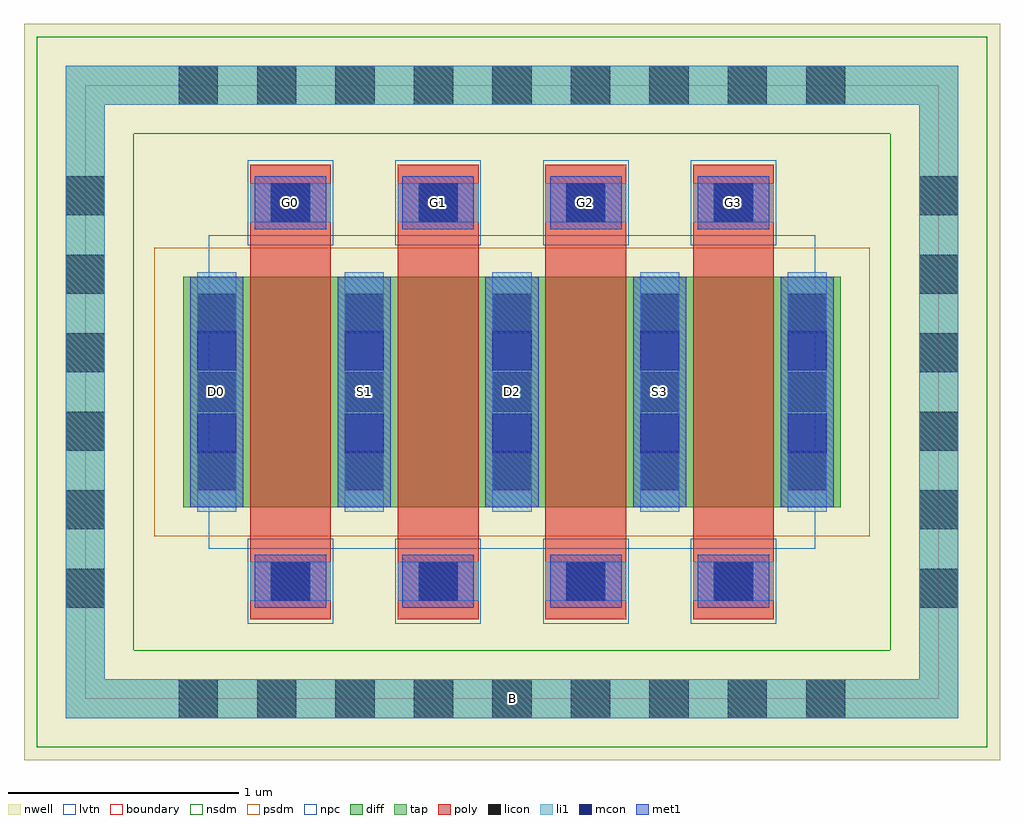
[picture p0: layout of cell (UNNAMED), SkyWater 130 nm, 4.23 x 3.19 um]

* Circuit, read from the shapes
.subckt (UNNAMED) B D0 D2 G0 G1 G2 G3 S1 S3
XM1 S1 G0 D0 B sky130_fd_pr__pfet_01v8_lvt w=1 l=0.35
XM2 D2 G1 S1 B sky130_fd_pr__pfet_01v8_lvt w=1 l=0.35
XM3 S3 G2 D2 B sky130_fd_pr__pfet_01v8_lvt w=1 l=0.35
XM4 n1 G3 S3 B sky130_fd_pr__pfet_01v8_lvt w=1 l=0.35
.ends

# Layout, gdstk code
import gdstk
lib = gdstk.Library(unit=1e-6, precision=1e-09)
def R(c, l, rs):  # rectangles x0, y0, x1, y1
    for r in rs: c.add(gdstk.rectangle(r[:2], r[2:], *l))
def A(c, l, x, y, w, h, nx, ny, dx, dy):  # array of equal rectangles
    R(c, l, [(x+i*dx, y+j*dy, x+i*dx+w, y+j*dy+h) for i in range(nx) for j in range(ny)])
nwell = (64, 20)
diff = (65, 20)
tap = (65, 44)
poly = (66, 20)
licon = (66, 44)
li1 = (67, 20)
mcon = (67, 44)
met1 = (68, 20)
nsdm = (93, 44)
psdm = (94, 20)
npc = (95, 20)
lvtn = (125, 44)
boundary = (235, 4)

c__unnamed_ = lib.new_cell('(UNNAMED)')
R(c__unnamed_, nwell, [(-2.115,-1.595,2.115,1.595)])
R(c__unnamed_, diff, [(-1.425,-0.5,1.425,0.5)])
R(c__unnamed_, tap, [(-1.935,-1.415,1.935,-1.245), (-1.935,-1.245,-1.765,1.245), (1.765,-1.245,1.935,1.245), (-1.935,1.245,1.935,1.415)])
A(c__unnamed_, poly, -1.135, -0.985, 0.35, 1.97, 4, 1, 0.64, 0)
A(c__unnamed_, licon, -1.445, -1.415, 0.17, 0.17, 9, 2, 0.34, 2.66)
A(c__unnamed_, licon, -1.935, -0.935, 0.17, 0.17, 1, 6, 0, 0.34)
A(c__unnamed_, licon, 1.765, -0.935, 0.17, 0.17, 1, 6, 0, 0.34)
A(c__unnamed_, licon, -1.045, -0.905, 0.17, 0.17, 4, 2, 0.64, 1.64)
A(c__unnamed_, licon, -1.365, -0.425, 0.17, 0.17, 5, 3, 0.64, 0.34)
A(c__unnamed_, li1, -1.135, -0.905, 0.35, 0.17, 4, 2, 0.64, 1.64)
A(c__unnamed_, li1, -1.365, -0.52, 0.17, 1.04, 5, 1, 0.64, 0)
R(c__unnamed_, li1, [(-1.935,-1.415,1.935,-1.245), (-1.935,-1.245,-1.765,1.245), (1.765,-1.245,1.935,1.245), (-1.935,1.245,1.935,1.415)])
A(c__unnamed_, mcon, -1.045, -0.905, 0.17, 0.17, 4, 2, 0.64, 1.64)
A(c__unnamed_, mcon, -1.365, -0.265, 0.17, 0.17, 5, 2, 0.64, 0.36)
A(c__unnamed_, met1, -1.115, -0.935, 0.31, 0.23, 4, 2, 0.64, 1.64)
A(c__unnamed_, met1, -1.395, -0.5, 0.23, 1, 5, 1, 0.64, 0)
R(c__unnamed_, nsdm, [(-2.06,-1.54,2.06,-1.12), (-2.06,-1.12,-1.64,1.12), (1.64,-1.12,2.06,1.12), (-2.06,1.12,2.06,1.54)])
R(c__unnamed_, psdm, [(-1.55,-0.625,1.55,0.625)])
A(c__unnamed_, npc, -1.145, -1.005, 0.37, 0.37, 4, 2, 0.64, 1.64)
R(c__unnamed_, lvtn, [(-1.315,-0.68,1.315,0.68)])
R(c__unnamed_, boundary, [(-1.85,-1.33,1.85,1.33)])
c__unnamed_.add(gdstk.Label('B', (0,-1.33), layer=67, texttype=5))
c__unnamed_.add(gdstk.Label('D0', (-1.28,0), layer=67, texttype=5))
c__unnamed_.add(gdstk.Label('G0', (-0.96,0.82), layer=67, texttype=5))
c__unnamed_.add(gdstk.Label('S1', (-0.64,0), layer=67, texttype=5))
c__unnamed_.add(gdstk.Label('G1', (-0.32,0.82), layer=67, texttype=5))
c__unnamed_.add(gdstk.Label('D2', (0,0), layer=67, texttype=5))
c__unnamed_.add(gdstk.Label('G2', (0.32,0.82), layer=67, texttype=5))
c__unnamed_.add(gdstk.Label('S3', (0.64,0), layer=67, texttype=5))
c__unnamed_.add(gdstk.Label('G3', (0.96,0.82), layer=67, texttype=5))

lib.write_gds('_UNNAMED_.gds')
